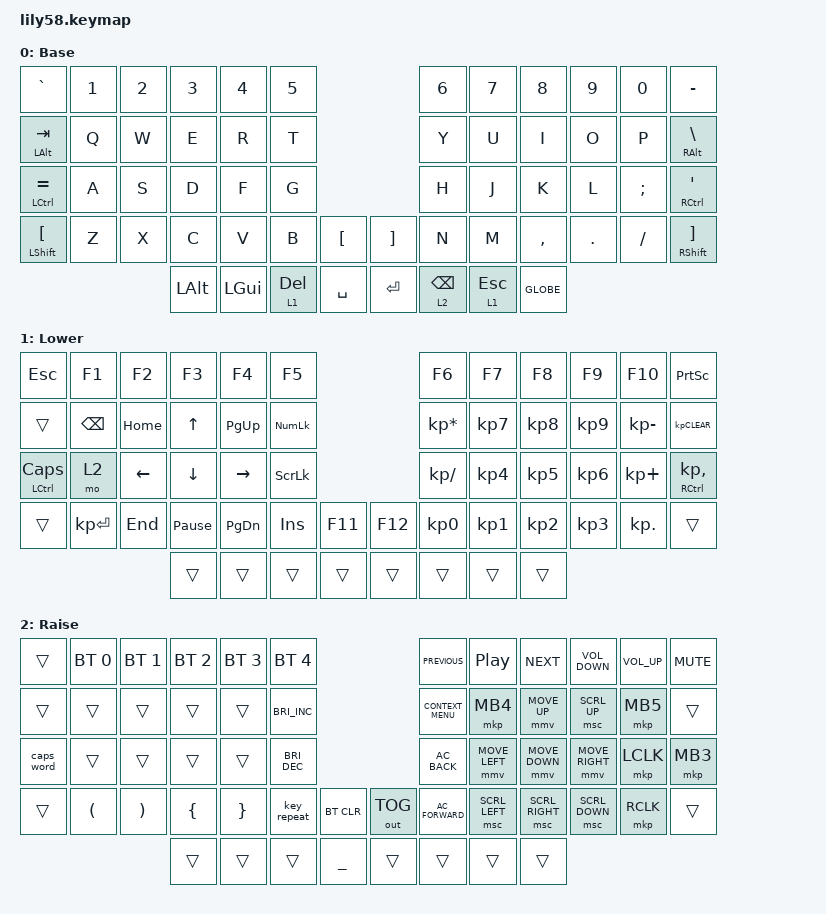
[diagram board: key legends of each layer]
/*
 * Copyright (c) 2020 The ZMK Contributors
 *
 * SPDX-License-Identifier: MIT
 */

#define ZMK_POINTING_DEFAULT_MOVE_VAL 3200  // default: 600
#define ZMK_POINTING_DEFAULT_SCRL_VAL 80    // default: 10

#include <behaviors.dtsi>
#include <dt-bindings/zmk/bt.h>
#include <dt-bindings/zmk/keys.h>
#include <dt-bindings/zmk/outputs.h>
#include <dt-bindings/zmk/pointing.h>

&mmv { time-to-max-speed-ms = <700>; };

&msc { acceleration-exponent = <1>; };

/ {
    behaviors {
        qlt: quick_layer_tap {
            compatible = "zmk,behavior-hold-tap";
            label = "Quick Layer Tap";
            bindings = <&mo>, <&kp>;

            #binding-cells = <2>;
            tapping-term-ms = <200>;
            quick-tap-ms = <150>;
        };
    };

    keymap {
        compatible = "zmk,keymap";

        default_layer {
            // ------------------------------------------------------------------------------------------------------------
            // |   `   |  1  |  2  |  3   |  4   |  5   |                   |  6   |  7    |  8    |  9   |   0   |   -   |
            // |TAB/ALT|  Q  |  W  |  E   |  R   |  T   |                   |  Y   |  U    |  I    |  O   |   P   | \/ALT |
            // | =/CTRL|  A  |  S  |  D   |  F   |  G   |                   |  H   |  J    |  K    |  L   |   ;   | '/CTRL|
            // | [/SHFT|  Z  |  X  |  C   |  V   |  B   |   "["  |  |  "]"  |  N   |  M    |  ,    |  .   |   /   | ]/SHFT|
            //                     | ALT  | GUI  |DEL/L1| SPACE  |  | ENTER |BKSP/L2|ESC/L1|GLOBE|

            display-name = "Base";
            bindings = <
&kp GRAVE               &kp N1  &kp N2  &kp N3    &kp N4    &kp N5                                &kp N6            &kp N7        &kp N8                        &kp N9   &kp N0    &kp MINUS
&mt LEFT_ALT TAB        &kp Q   &kp W   &kp E     &kp R     &kp T                                 &kp Y             &kp U         &kp I                         &kp O    &kp P     &mt RIGHT_ALT BACKSLASH
&mt LCTRL EQUAL         &kp A   &kp S   &kp D     &kp F     &kp G                                 &kp H             &kp J         &kp K                         &kp L    &kp SEMI  &mt RIGHT_CONTROL APOSTROPHE
&mt LSHFT LEFT_BRACKET  &kp Z   &kp X   &kp C     &kp V     &kp B          &kp LBKT     &kp RBKT  &kp N             &kp M         &kp COMMA                     &kp DOT  &kp FSLH  &mt RSHFT RIGHT_BRACKET
                                        &kp LALT  &kp LGUI  &qlt 1 DELETE  &kp SPACE    &kp RET   &qlt 2 BACKSPACE  &lt 1 ESCAPE  &kp GLOBE
            >;
        };

        lower_layer {
            // ------------------------------------------------------------------------------------------------------------
            // |  ESC  | F1  | F2  | F3   |  F4  |  F5  |                   |  F6  |  F7   |  F8   |  F9  |  F10  | PRNT  |
            // |       | BKSP| HOME|  UP  | PGUP | NMLK |                   | KP * |  KP7  |  KP8  | KP9  | KP -  |KP CLR |
            // |CAPS/CT| L2  | LEFT| DOWN |RIGHT | SCRLK|                   | KP / |  KP4  |  KP5  | KP6  | KP +  |KP,/CT |
            // |       |KPENT| END |PAUSE | PGDN | INS  |  F11   |  |  F12  | KP0  |  KP1  |  KP2  | KP3  | KP.   |       |
            //                     |      |      |      |        |  |       |      |       |       |

            display-name = "Lower";
            bindings = <
&kp ESCAPE                 &kp F1         &kp F2          &kp F3           &kp F4         &kp F5                              &kp F6           &kp F7           &kp F8           &kp F9           &kp F10       &kp PRINTSCREEN
&trans                     &kp BACKSPACE  &kp HOME        &kp UP           &kp PAGE_UP    &kp KP_NUMLOCK                      &kp KP_ASTERISK  &kp KP_NUMBER_7  &kp KP_NUMBER_8  &kp KP_NUMBER_9  &kp KP_MINUS  &kp KP_CLEAR
&mt LCTRL CAPSLOCK         &mo 2          &kp LEFT_ARROW  &kp DOWN         &kp RIGHT      &kp SCROLLLOCK                      &kp KP_DIVIDE    &kp KP_NUMBER_4  &kp KP_NUMBER_5  &kp KP_NUMBER_6  &kp KP_PLUS   &mt RIGHT_CONTROL KP_COMMA
&trans                     &kp KP_ENTER   &kp END         &kp PAUSE_BREAK  &kp PAGE_DOWN  &kp INS         &kp F11    &kp F12  &kp KP_NUMBER_0  &kp KP_NUMBER_1  &kp KP_NUMBER_2  &kp KP_NUMBER_3  &kp KP_DOT    &trans
                                                          &trans           &trans         &trans          &trans     &trans   &trans           &trans           &trans
            >;
        };

        raise_layer {
            // ------------------------------------------------------------------------------------------------------------
            // |       | BT0 | BT1 | BT2  | BT3  | BT4  |                   | PREV | PLAY  | NEXT  | VOLD | VOLUP | MUTE  |
            // |       |     |     |      |      | BRI+ |                   | CMENU|  MB4  | MV UP |SCRL U|  MB5  |       |
            // | CPSWD |     |     |      |      | BRI- |                   | BACK |MV LEFT|MV DOWN|MV RGT| LCLK  |  MB3  |
            // |       |  (  |  )  |  {   |  }   | REPT | BTCLR  |  |OUTTOG | FWD  |SCRL L |SCRL R |SCRL D| RCLK  |       |
            //                     |      |      |      |   _    |  |       |      |       |       |

            display-name = "Raise";
            bindings = <
&trans      &bt BT_SEL 0          &bt BT_SEL 1           &bt BT_SEL 2    &bt BT_SEL 3     &bt BT_SEL 4                                    &kp C_PREVIOUS      &kp C_PLAY_PAUSE  &kp C_NEXT       &kp C_VOLUME_DOWN  &kp C_VOLUME_UP  &kp C_MUTE
&trans      &trans                &trans                 &trans          &trans           &kp C_BRIGHTNESS_INC                            &kp K_CONTEXT_MENU  &mkp MB4          &mmv MOVE_UP     &msc SCRL_UP       &mkp MB5         &trans
&caps_word  &trans                &trans                 &trans          &trans           &kp C_BRIGHTNESS_DEC                            &kp C_AC_BACK       &mmv MOVE_LEFT    &mmv MOVE_DOWN   &mmv MOVE_RIGHT    &mkp LCLK        &mkp MB3
&trans      &kp LEFT_PARENTHESIS  &kp RIGHT_PARENTHESIS  &kp LEFT_BRACE  &kp RIGHT_BRACE  &key_repeat      &bt BT_CLR       &out OUT_TOG  &kp C_AC_FORWARD    &msc SCRL_LEFT    &msc SCRL_RIGHT  &msc SCRL_DOWN     &mkp RCLK        &trans
                                                         &trans          &trans           &trans           &kp UNDERSCORE   &trans        &trans              &trans            &trans
            >;
        };

        extra_1 { status = "reserved"; };

        extra_2 { status = "reserved"; };

        extra_3 { status = "reserved"; };
    };
};
